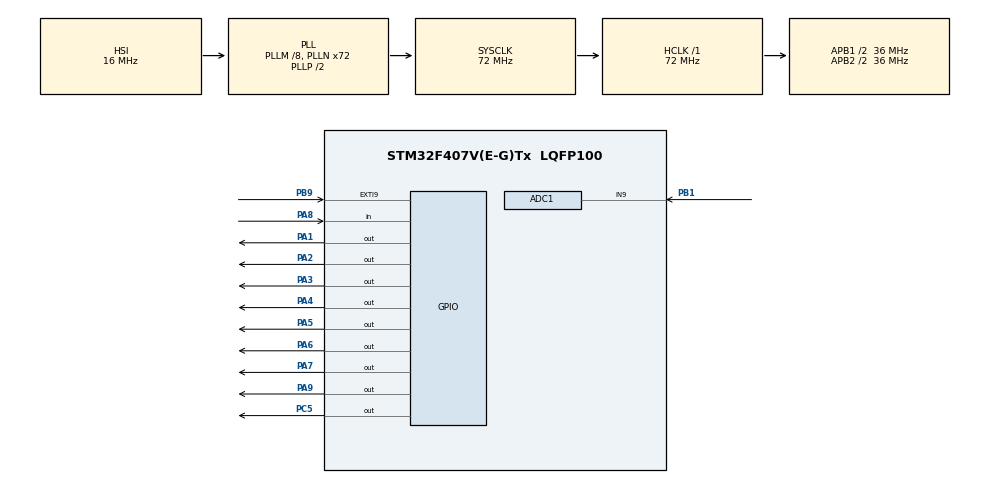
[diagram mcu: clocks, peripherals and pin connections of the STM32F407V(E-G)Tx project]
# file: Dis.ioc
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ADC1.Channel-1\#ChannelRegularConversion=ADC_CHANNEL_9
ADC1.NbrOfConversionFlag=1
ADC1.Rank-1\#ChannelRegularConversion=1
ADC1.SamplingTime-1\#ChannelRegularConversion=ADC_SAMPLETIME_3CYCLES
ADC1.master=1
Mcu.Family=STM32F4
Mcu.Name=STM32F407V(E-G)Tx
Mcu.Package=LQFP100
NVIC.PriorityGroup=NVIC_PRIORITYGROUP_4
PA1.Signal=GPIO_Output
PA13.Mode=Serial_Wire
PA13.Signal=SYS_JTMS-SWDIO
PA14.Mode=Serial_Wire
PA14.Signal=SYS_JTCK-SWCLK
PA2.Signal=GPIO_Output
PA3.Signal=GPIO_Output
PA4.Signal=GPIO_Output
PA5.Signal=GPIO_Output
PA6.Signal=GPIO_Output
PA7.Signal=GPIO_Output
PA8.Signal=GPIO_Input
PA9.Signal=GPIO_Output
PB1.Signal=ADCx_IN9
PB9.Signal=GPXTI9
PC5.Signal=GPIO_Output
PH0-OSC_IN.Mode=HSE-External-Oscillator
PH0-OSC_IN.Signal=RCC_OSC_IN
PH1-OSC_OUT.Mode=HSE-External-Oscillator
PH1-OSC_OUT.Signal=RCC_OSC_OUT
ProjectManager.HeapSize=0x200
ProjectManager.StackSize=0x400
ProjectManager.TargetToolchain=STM32CubeIDE
RCC.48MHZClocksFreq_Value=36000000
RCC.AHBFreq_Value=72000000
RCC.APB1CLKDivider=RCC_HCLK_DIV2
RCC.APB1Freq_Value=36000000
RCC.APB1TimFreq_Value=72000000
RCC.APB2CLKDivider=RCC_HCLK_DIV2
RCC.APB2Freq_Value=36000000
RCC.APB2TimFreq_Value=72000000
RCC.CortexFreq_Value=72000000
RCC.HCLKFreq_Value=72000000
RCC.HSE_VALUE=8000000
RCC.HSI_VALUE=16000000
RCC.LSE_VALUE=32768
RCC.PLLM=8
RCC.PLLN=72
RCC.SYSCLKFreq_VALUE=72000000
RCC.SYSCLKSource=RCC_SYSCLKSOURCE_PLLCLK
RCC.VCOOutputFreq_Value=144000000
SH.ADCx_IN9.0=ADC1_IN9,IN9
TIM1.Prescaler=71
VP_TIM1_VS_ClockSourceINT.Mode=Internal
board=custom

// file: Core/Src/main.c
/* USER CODE BEGIN Header */
/**
  ******************************************************************************
  * @file           : main.c
  * @brief          : Main program body
  ******************************************************************************
  * @attention
  *
  * Copyright (c) 2024 STMicroelectronics.
  * All rights reserved.
  *
  * This software is licensed under terms that can be found in the LICENSE file
  * in the root directory of this software component.
  * If no LICENSE file comes with this software, it is provided AS-IS.
  *
  ******************************************************************************
  ******************************************************************************
  */
#include "main.h"
#include "../../ECUAL/LCD16X2/LCD16X2.h"
#include "stm32f4xx.h"
#include <stdio.h>

#define ARM_MATH_CM4

#define MyLCD LCD16X2_1
/* USER CODE END Header */
#include "main.h"

ADC_HandleTypeDef hadc1;

TIM_HandleTypeDef htim1;

/* USER CODE BEGIN PV */
#define TRIG_PIN GPIO_PIN_9
#define TRIG_PORT GPIOA
#define ECHO_PIN GPIO_PIN_8
#define ECHO_PORT GPIOA
uint32_t pMillis;
uint32_t Value1 = 0;
uint32_t Value2 = 0;
uint16_t Distance  = 0;  // cm
/* USER CODE END PV */

void SystemClock_Config(void);
static void MX_GPIO_Init(void);
static void MX_TIM1_Init(void);
static void MX_ADC1_Init(void);

/* USER CODE BEGIN 0 */
float readValue;
#define DHT11_PORT GPIOB
#define DHT11_PIN GPIO_PIN_9
uint8_t RHI, RHD, TCI, TCD, SUM;
uint32_t pMillis, cMillis;
float tCelsius = 0;
float tFahrenheit = 0;
float RH = 0;

void microDelay (uint16_t delay)
{
  __HAL_TIM_SET_COUNTER(&htim1, 0);
  while (__HAL_TIM_GET_COUNTER(&htim1) < delay);
}

uint8_t DHT11_Start (void)
{
  uint8_t Response = 0;
  GPIO_InitTypeDef GPIO_InitStructPrivate = {0};
  GPIO_InitStructPrivate.Pin = DHT11_PIN;
  GPIO_InitStructPrivate.Mode = GPIO_MODE_OUTPUT_PP;
  GPIO_InitStructPrivate.Speed = GPIO_SPEED_FREQ_LOW;
  GPIO_InitStructPrivate.Pull = GPIO_NOPULL;
  HAL_GPIO_Init(DHT11_PORT, &GPIO_InitStructPrivate); // set the pin as output
  HAL_GPIO_WritePin (DHT11_PORT, DHT11_PIN, 0);   // pull the pin low
  HAL_Delay(20);   // wait for 20ms
  HAL_GPIO_WritePin (DHT11_PORT, DHT11_PIN, 1);   // pull the pin high
  microDelay (30);   // wait for 30us
  GPIO_InitStructPrivate.Mode = GPIO_MODE_INPUT;
  GPIO_InitStructPrivate.Pull = GPIO_PULLUP;
  HAL_GPIO_Init(DHT11_PORT, &GPIO_InitStructPrivate); // set the pin as input
  microDelay (40);
  if (!(HAL_GPIO_ReadPin (DHT11_PORT, DHT11_PIN)))
  {
    microDelay (80);
    if ((HAL_GPIO_ReadPin (DHT11_PORT, DHT11_PIN))) Response = 1;
  }
  pMillis = HAL_GetTick();
  cMillis = HAL_GetTick();
  while ((HAL_GPIO_ReadPin (DHT11_PORT, DHT11_PIN)) && pMillis + 2 > cMillis)
  {
    cMillis = HAL_GetTick();
  }
  return Response;
}

uint8_t DHT11_Read (void)
{
  uint8_t a,b;
  for (a=0;a<8;a++)
  {
    pMillis = HAL_GetTick();
    cMillis = HAL_GetTick();
    while (!(HAL_GPIO_ReadPin (DHT11_PORT, DHT11_PIN)) && pMillis + 2 > cMillis)
    {  // wait for the pin to go high
      cMillis = HAL_GetTick();
    }
    microDelay (40);   // wait for 40 us
    if (!(HAL_GPIO_ReadPin (DHT11_PORT, DHT11_PIN)))   // if the pin is low
      b&= ~(1<<(7-a));
    else
      b|= (1<<(7-a));
    pMillis = HAL_GetTick();
    cMillis = HAL_GetTick();
    while ((HAL_GPIO_ReadPin (DHT11_PORT, DHT11_PIN)) && pMillis + 2 > cMillis)
    {  // wait for the pin to go low
      cMillis = HAL_GetTick();
    }
  }
  return b;
}

void GPIO_Init() {
    // Enable GPIOB clock
    RCC->AHB1ENR |= (1 << 1);

    // Configure PB10 (Trig pin) as output
    GPIOB->MODER |= (1 << 20);

    // Configure PB11 (Echo pin) as input
    GPIOB->MODER &= ~(3 << 22);
}

void TIM2_us_Delay(uint32_t delay) {
    RCC->APB1ENR |= 1; // Start the clock for the timer peripheral
    TIM2->ARR = (int)(delay / 0.0625); // Total period of the timer
    TIM2->CNT = 0;
    TIM2->CR1 |= 1; // Start the Timer
    while (!(TIM2->SR & TIM_SR_UIF)) {} // Polling the update interrupt flag
    TIM2->SR &= ~(0x0001); // Reset the update interrupt flag
}

void Moisture_Sensor()
{

	      char hello_strr[20];
		   HAL_ADC_PollForConversion(&hadc1,1000);
		   readValue = HAL_ADC_GetValue(&hadc1);
	       snprintf(hello_strr, sizeof(hello_strr), "%ff",readValue);
           LCD16X2_Clear(MyLCD);
	        LCD16X2_Set_Cursor(MyLCD, 1, 1);
              LCD16X2_Write_String(MyLCD, " Moisture Level");
		       LCD16X2_Set_Cursor(MyLCD, 2, 1);
		      LCD16X2_Write_String(MyLCD,hello_strr);
               HAL_Delay(2000);
		      LCD16X2_Clear(MyLCD);
		      if(readValue<=1800)
		      {
		      HAL_GPIO_WritePin(GPIOC, GPIO_PIN_5, GPIO_PIN_SET);
		      }

		  if (readValue > 2300) {
			  HAL_GPIO_WritePin(GPIOA, GPIO_PIN_7, 1);
			  HAL_GPIO_WritePin(GPIOA, GPIO_PIN_5, 0);
			  HAL_GPIO_WritePin(GPIOA, GPIO_PIN_3, 0);
			  HAL_GPIO_WritePin(GPIOA, GPIO_PIN_1, 0);
		  }
		  else if (readValue > 1800 ) {
			  HAL_GPIO_WritePin(GPIOA, GPIO_PIN_7, 0);
			  HAL_GPIO_WritePin(GPIOA, GPIO_PIN_5, 1);
			  HAL_GPIO_WritePin(GPIOA, GPIO_PIN_3, 0);
			  HAL_GPIO_WritePin(GPIOA, GPIO_PIN_1, 0);
		  }
		  else if (readValue > 1500) {
			  HAL_GPIO_WritePin(GPIOA, GPIO_PIN_7, 0);
			  HAL_GPIO_WritePin(GPIOA, GPIO_PIN_5, 0);
			  HAL_GPIO_WritePin(GPIOA, GPIO_PIN_3, 1);
			  HAL_GPIO_WritePin(GPIOA, GPIO_PIN_1, 0);
		  }
		  else {
			  HAL_GPIO_WritePin(GPIOA, GPIO_PIN_7, 0);
			  HAL_GPIO_WritePin(GPIOA, GPIO_PIN_5, 0);
			  HAL_GPIO_WritePin(GPIOA, GPIO_PIN_3, 0);
			  HAL_GPIO_WritePin(GPIOA, GPIO_PIN_1, 1);
		  }

}

/* USER CODE END 0 */

int main(void)
{
  /* USER CODE BEGIN 1 */
	uint32_t data;
	double time;
	int dist;
	RCC->CFGR |= 0 << 10; // set APB1 = 16 MHz
	    GPIO_Init();
	    GPIOB->BSRR = 0x00000000; // Setting tr
  /* USER CODE END 1 */

  /* MCU Configuration--------------------------------------------------------*/

  /* Reset of all peripherals, Initializes the Flash interface and the Systick. */
  HAL_Init();

  /* Configure the system clock */
  SystemClock_Config();

  /* Initialize all configured peripherals */
  MX_GPIO_Init();
  MX_TIM1_Init();
  MX_ADC1_Init();
  /* USER CODE BEGIN 2 */
  HAL_ADC_Start(&hadc1);
  HAL_TIM_Base_Start(&htim1);
  HAL_TIM_Base_Start(&htim1);
  HAL_GPIO_WritePin(TRIG_PORT, TRIG_PIN, GPIO_PIN_RESET);  // pull the TRIG pin low
  char hello_str[20]; // Assuming the maximum length of the number won't exceed 10 characters
  char hello_ster[20];
     // Initialize an integer variable with the value 32

     // Convert the numerical value to a string
  LCD16X2_Init(MyLCD);
  	          LCD16X2_Clear(MyLCD);
  /* USER CODE END 2 */

  /* Infinite loop */
  /* USER CODE BEGIN WHILE */
  while (1)
  {

         data = 0;
          Moisture_Sensor();

      if(DHT11_Start())
         {
           RHI = DHT11_Read(); // Relative humidity integral
           RHD = DHT11_Read(); // Relative humidity decimal
           TCI = DHT11_Read(); // Celsius integral
           TCD = DHT11_Read(); // Celsius decimal
           SUM = DHT11_Read(); // Check sum
           if (RHI + RHD + TCI + TCD == SUM)
           {
             // Can use RHI and TCI for any purposes if whole number only needed
             tCelsius = (float)TCI + (float)(TCD/10.0);
             tFahrenheit = (tCelsius * 9/5 + 32)-20;
             RH = (float)RHI + (float)(RHD/10.0);
             // Can use tCelsius, tFahrenheit and RH for any purposes
           }

         }
      snprintf(hello_str, sizeof(hello_str), "%f",tFahrenheit);
      snprintf(hello_ster, sizeof(hello_ster), "%f",tCelsius);

//
//         HAL_Delay(2000);
//
//        // 1. Sending 10us pulse to trig pin (PB10)
//        GPIOB->BSRR &= ~(1 << 10); // PB10 is low
//        TIM2_us_Delay(2);
//        GPIOB->BSRR |= (1 << 10); // PB10 set to High
//        TIM2_us_Delay(10); // wait for 10us
//        GPIOB->BSRR |= (1 << 26); // Make PB10 low again
//
//        // 2. Measure the pulse width of the pulse sent from the echo pin (PB11) by polling IDR for port B
//        while (GPIOB->IDR & (1 << 11)) {
//            data++;
//        }
//
//        // 3. Converting the gathered data into distance in cm
//        if (data > 0) {
//            time = data * (0.0625 * 0.000001);
//            dist = ((time * 340) / 2) * 100;
//        }
//

	         // Print to LCD screen

                                 LCD16X2_Set_Cursor(MyLCD, 1, 1);
     	        		          LCD16X2_Write_String(MyLCD, " WELCOME WATER");
     	        		          LCD16X2_Set_Cursor(MyLCD, 2, 1);
     	        		          LCD16X2_Write_String(MyLCD,"MANAGMENT PROJECT");
     	        		     	  HAL_Delay(2000);
     	        		          LCD16X2_Clear(MyLCD);

	          LCD16X2_Set_Cursor(MyLCD, 1, 1);
	          LCD16X2_Write_String(MyLCD, " Temperature");
	          LCD16X2_Set_Cursor(MyLCD, 2, 1);
	          LCD16X2_Write_String(MyLCD, hello_str);
	          HAL_Delay(1000);
	           LCD16X2_Clear(MyLCD);
	          LCD16X2_Set_Cursor(MyLCD, 1, 1);
	     	     LCD16X2_Write_String(MyLCD, " Humidity");
	     	          LCD16X2_Set_Cursor(MyLCD, 2, 1);
	     	          LCD16X2_Write_String(MyLCD, hello_ster);
	     	  HAL_Delay(1000);
	           LCD16X2_Clear(MyLCD);

    /* USER CODE END WHILE */

  }
}

void SystemClock_Config(void)
{
  RCC_OscInitTypeDef RCC_OscInitStruct = {0};
  RCC_ClkInitTypeDef RCC_ClkInitStruct = {0};

  /** Configure the main internal regulator output voltage
  */
  __HAL_RCC_PWR_CLK_ENABLE();
  __HAL_PWR_VOLTAGESCALING_CONFIG(PWR_REGULATOR_VOLTAGE_SCALE1);

  /** Initializes the RCC Oscillators according to the specified parameters
  * in the RCC_OscInitTypeDef structure.
  */
  RCC_OscInitStruct.OscillatorType = RCC_OSCILLATORTYPE_HSI;
  RCC_OscInitStruct.HSIState = RCC_HSI_ON;
  RCC_OscInitStruct.HSICalibrationValue = RCC_HSICALIBRATION_DEFAULT;
  RCC_OscInitStruct.PLL.PLLState = RCC_PLL_ON;
  RCC_OscInitStruct.PLL.PLLSource = RCC_PLLSOURCE_HSI;
  RCC_OscInitStruct.PLL.PLLM = 8;
  RCC_OscInitStruct.PLL.PLLN = 72;
  RCC_OscInitStruct.PLL.PLLP = RCC_PLLP_DIV2;
  RCC_OscInitStruct.PLL.PLLQ = 4;
  if (HAL_RCC_OscConfig(&RCC_OscInitStruct) != HAL_OK)
  {
    Error_Handler();
  }

  /** Initializes the CPU, AHB and APB buses clocks
  */
  RCC_ClkInitStruct.ClockType = RCC_CLOCKTYPE_HCLK|RCC_CLOCKTYPE_SYSCLK
                              |RCC_CLOCKTYPE_PCLK1|RCC_CLOCKTYPE_PCLK2;
  RCC_ClkInitStruct.SYSCLKSource = RCC_SYSCLKSOURCE_PLLCLK;
  RCC_ClkInitStruct.AHBCLKDivider = RCC_SYSCLK_DIV1;
  RCC_ClkInitStruct.APB1CLKDivider = RCC_HCLK_DIV2;
  RCC_ClkInitStruct.APB2CLKDivider = RCC_HCLK_DIV2;

  if (HAL_RCC_ClockConfig(&RCC_ClkInitStruct, FLASH_LATENCY_2) != HAL_OK)
  {
    Error_Handler();
  }
}

static void MX_ADC1_Init(void)
{

  ADC_ChannelConfTypeDef sConfig = {0};

  /** Configure the global features of the ADC (Clock, Resolution, Data Alignment and number of conversion)
  */
  hadc1.Instance = ADC1;
  hadc1.Init.ClockPrescaler = ADC_CLOCK_SYNC_PCLK_DIV2;
  hadc1.Init.Resolution = ADC_RESOLUTION_12B;
  hadc1.Init.ScanConvMode = DISABLE;
  hadc1.Init.ContinuousConvMode = DISABLE;
  hadc1.Init.DiscontinuousConvMode = DISABLE;
  hadc1.Init.ExternalTrigConvEdge = ADC_EXTERNALTRIGCONVEDGE_NONE;
  hadc1.Init.ExternalTrigConv = ADC_SOFTWARE_START;
  hadc1.Init.DataAlign = ADC_DATAALIGN_RIGHT;
  hadc1.Init.NbrOfConversion = 1;
  hadc1.Init.DMAContinuousRequests = DISABLE;
  hadc1.Init.EOCSelection = ADC_EOC_SINGLE_CONV;
  if (HAL_ADC_Init(&hadc1) != HAL_OK)
  {
    Error_Handler();
  }

  /** Configure for the selected ADC regular channel its corresponding rank in the sequencer and its sample time.
  */
  sConfig.Channel = ADC_CHANNEL_9;
  sConfig.Rank = 1;
  sConfig.SamplingTime = ADC_SAMPLETIME_3CYCLES;
  if (HAL_ADC_ConfigChannel(&hadc1, &sConfig) != HAL_OK)
  {
    Error_Handler();
  }

}

static void MX_TIM1_Init(void)
{

  TIM_ClockConfigTypeDef sClockSourceConfig = {0};
  TIM_MasterConfigTypeDef sMasterConfig = {0};

  htim1.Instance = TIM1;
  htim1.Init.Prescaler = 71;
  htim1.Init.CounterMode = TIM_COUNTERMODE_UP;
  htim1.Init.Period = 65535;
  htim1.Init.ClockDivision = TIM_CLOCKDIVISION_DIV1;
  htim1.Init.RepetitionCounter = 0;
  htim1.Init.AutoReloadPreload = TIM_AUTORELOAD_PRELOAD_DISABLE;
  if (HAL_TIM_Base_Init(&htim1) != HAL_OK)
  {
    Error_Handler();
  }
  sClockSourceConfig.ClockSource = TIM_CLOCKSOURCE_INTERNAL;
  if (HAL_TIM_ConfigClockSource(&htim1, &sClockSourceConfig) != HAL_OK)
  {
    Error_Handler();
  }
  sMasterConfig.MasterOutputTrigger = TIM_TRGO_RESET;
  sMasterConfig.MasterSlaveMode = TIM_MASTERSLAVEMODE_DISABLE;
  if (HAL_TIMEx_MasterConfigSynchronization(&htim1, &sMasterConfig) != HAL_OK)
  {
    Error_Handler();
  }

}

static void MX_GPIO_Init(void)
{
  GPIO_InitTypeDef GPIO_InitStruct = {0};

  /* GPIO Ports Clock Enable */
  __HAL_RCC_GPIOH_CLK_ENABLE();
  __HAL_RCC_GPIOA_CLK_ENABLE();
  __HAL_RCC_GPIOC_CLK_ENABLE();
  __HAL_RCC_GPIOB_CLK_ENABLE();

  /*Configure GPIO pin Output Level */
  HAL_GPIO_WritePin(GPIOA, GPIO_PIN_1|GPIO_PIN_2|GPIO_PIN_3|GPIO_PIN_4
                          |GPIO_PIN_5|GPIO_PIN_6|GPIO_PIN_7|GPIO_PIN_9, GPIO_PIN_RESET);

  /*Configure GPIO pin Output Level */
  HAL_GPIO_WritePin(GPIOC, GPIO_PIN_5, GPIO_PIN_RESET);

  /*Configure GPIO pins : PA1 PA2 PA3 PA4
                           PA5 PA6 PA7 PA9 */
  GPIO_InitStruct.Pin = GPIO_PIN_1|GPIO_PIN_2|GPIO_PIN_3|GPIO_PIN_4
                          |GPIO_PIN_5|GPIO_PIN_6|GPIO_PIN_7|GPIO_PIN_9;
  GPIO_InitStruct.Mode = GPIO_MODE_OUTPUT_PP;
  GPIO_InitStruct.Pull = GPIO_NOPULL;
  GPIO_InitStruct.Speed = GPIO_SPEED_FREQ_LOW;
  HAL_GPIO_Init(GPIOA, &GPIO_InitStruct);

  /*Configure GPIO pin : PC5 */
  GPIO_InitStruct.Pin = GPIO_PIN_5;
  GPIO_InitStruct.Mode = GPIO_MODE_OUTPUT_PP;
  GPIO_InitStruct.Pull = GPIO_NOPULL;
  GPIO_InitStruct.Speed = GPIO_SPEED_FREQ_LOW;
  HAL_GPIO_Init(GPIOC, &GPIO_InitStruct);

  /*Configure GPIO pin : PA8 */
  GPIO_InitStruct.Pin = GPIO_PIN_8;
  GPIO_InitStruct.Mode = GPIO_MODE_INPUT;
  GPIO_InitStruct.Pull = GPIO_NOPULL;
  HAL_GPIO_Init(GPIOA, &GPIO_InitStruct);

  /*Configure GPIO pin : PB9 */
  GPIO_InitStruct.Pin = GPIO_PIN_9;
  GPIO_InitStruct.Mode = GPIO_MODE_IT_RISING;
  GPIO_InitStruct.Pull = GPIO_NOPULL;
  HAL_GPIO_Init(GPIOB, &GPIO_InitStruct);

}

void Error_Handler(void)
{
}
